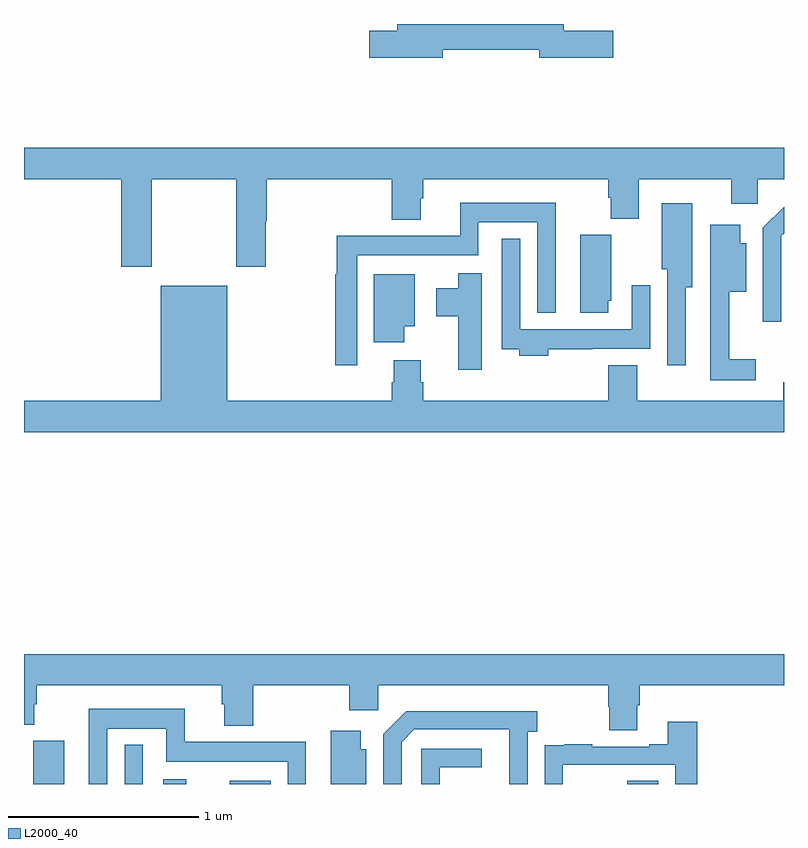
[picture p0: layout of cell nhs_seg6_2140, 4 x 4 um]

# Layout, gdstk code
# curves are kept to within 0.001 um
import gdstk
lib = gdstk.Library(unit=1e-6, precision=1e-09)
def R(c, l, rs):  # rectangles x0, y0, x1, y1
    for r in rs: c.add(gdstk.rectangle(r[:2], r[2:], *l))
def P(c, l, *ps):  # polygons
    for p in ps: c.add(gdstk.Polygon(p, *l))
L2000_40 = (2000, 40)

nhs_seg6_2140 = lib.new_cell('nhs_seg6_2140')
R(nhs_seg6_2140, L2000_40, [(239.048,929.5,239.212,929.727), (239.529,929.5,239.625,929.707), (239.732,929.5,239.854,929.524), (240.083,929.5,240.298,929.518), (242.174,929.5,242.338,929.516)])
P(nhs_seg6_2140, L2000_40, [(241.204,933.364),(241.712,933.364),(241.712,933.322),(242.101,933.322),(242.101,933.464),(241.84,933.464),(241.84,933.5),(240.965,933.5),(240.965,933.464),(240.816,933.464),(240.816,933.322),(241.204,933.322)],
  [(239.673,932.684),(240.118,932.684),(240.118,932.223),(240.273,932.223),(240.273,932.462),(240.278,932.462),(240.278,932.684),(240.935,932.684),(240.935,932.471),(241.087,932.471),(241.087,932.583),(241.1,932.583),(241.1,932.684),(242.075,932.684),(242.075,932.585),(242.087,932.585),(242.087,932.476),(242.235,932.476),(242.235,932.684),(242.723,932.684),(242.723,932.553),(242.862,932.553),(242.862,932.684),(243,932.684),(243,932.848),(239,932.848),(239,932.684),(239.513,932.684),(239.513,932.223),(239.673,932.223)],
  [(240.753,932.282),(241.392,932.282),(241.392,932.456),(241.701,932.456),(241.701,931.979),(241.798,931.979),(241.798,932.56),(241.295,932.56),(241.295,932.386),(240.645,932.386),(240.645,932.182),(240.637,932.182),(240.637,931.704),(240.753,931.704)],
  [(242.482,932.114),(242.518,932.114),(242.518,932.557),(242.357,932.557),(242.357,932.208),(242.385,932.208),(242.385,931.704),(242.482,931.704)],
  [(242.985,932.385),(243,932.4),(243,932.538),(242.889,932.427),(242.889,931.932),(242.985,931.932)],
  [(242.851,931.735),(242.711,931.735),(242.711,932.09),(242.8,932.09),(242.8,932.347),(242.77,932.347),(242.77,932.443),(242.612,932.443),(242.612,931.626),(242.851,931.626)],
  [(242.074,932.043),(242.092,932.043),(242.092,932.391),(241.928,932.391),(241.928,931.98),(242.074,931.98)],
  [(241.76,931.788),(241.991,931.788),(241.991,931.79),(242.295,931.79),(242.295,932.125),(242.199,932.125),(242.199,931.894),(241.611,931.894),(241.611,932.371),(241.515,932.371),(241.515,931.788),(241.607,931.788),(241.607,931.754),(241.76,931.754)],
  [(241.408,932.188),(241.286,932.188),(241.286,932.11),(241.169,932.11),(241.169,931.963),(241.286,931.963),(241.286,931.68),(241.408,931.68)],
  [(241,931.91),(241.057,931.91),(241.057,932.182),(240.842,932.182),(240.842,931.824),(241,931.824)],
  [(243,931.614),(242.996,931.614),(242.996,931.516),(242.227,931.516),(242.227,931.705),(242.075,931.705),(242.075,931.516),(241.1,931.516),(241.1,931.614),(241.087,931.614),(241.087,931.729),(240.947,931.729),(240.947,931.614),(240.935,931.614),(240.935,931.516),(240.07,931.516),(240.07,932.122),(239.72,932.122),(239.72,931.516),(239,931.516),(239,931.352),(243,931.352)],
  [(239,929.812),(239.053,929.812),(239.053,929.921),(239.066,929.921),(239.066,930.02),(240.041,930.02),(240.041,929.919),(240.053,929.919),(240.053,929.807),(240.206,929.807),(240.206,930.02),(240.713,930.02),(240.713,929.889),(240.864,929.889),(240.864,930.02),(242.075,930.02),(242.075,929.907),(242.08,929.907),(242.08,929.782),(242.227,929.782),(242.227,929.914),(242.24,929.914),(242.24,930.02),(243,930.02),(243,930.184),(239,930.184)],
  [(239.439,929.792),(239.748,929.792),(239.748,929.618),(240.387,929.618),(240.387,929.5),(240.484,929.5),(240.484,929.722),(239.846,929.722),(239.846,929.896),(239.342,929.896),(239.342,929.5),(239.439,929.5)],
  [(240.987,929.721),(241.053,929.787),(241.553,929.787),(241.554,929.5),(241.65,929.5),(241.65,929.774),(241.702,929.774),(241.702,929.884),(241.012,929.884),(240.891,929.763),(240.891,929.5),(240.987,929.5)],
  [(241.836,929.601),(242.427,929.601),(242.427,929.5),(242.543,929.5),(242.543,929.827),(242.387,929.827),(242.387,929.71),(242.291,929.71),(242.291,929.697),(241.991,929.697),(241.991,929.71),(241.843,929.71),(241.843,929.703),(241.741,929.703),(241.741,929.594),(241.74,929.594),(241.74,929.5),(241.836,929.5)],
  [(240.802,929.683),(240.772,929.683),(240.772,929.779),(240.614,929.779),(240.614,929.5),(240.802,929.5)],
  [(241.188,929.589),(241.408,929.589),(241.408,929.685),(241.092,929.685),(241.092,929.5),(241.188,929.5)])

lib.write_gds('nhs_seg6_2140.gds')
